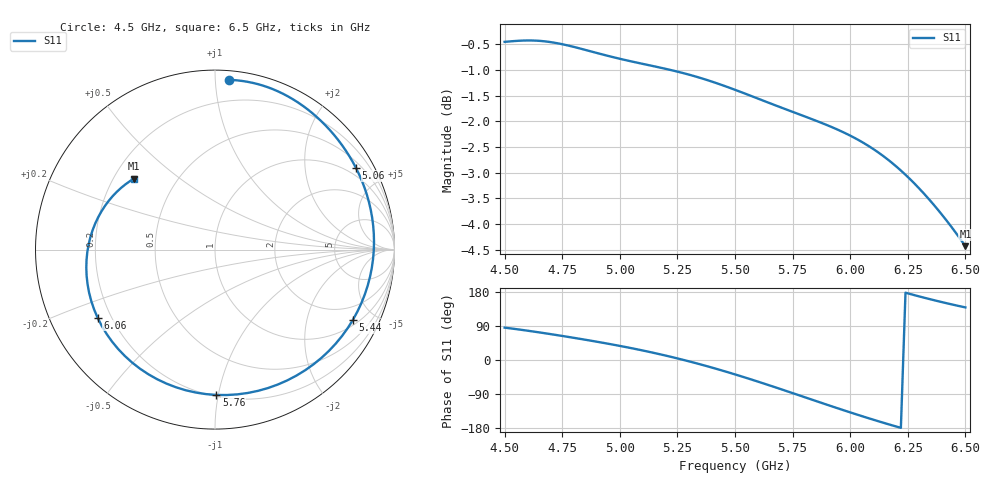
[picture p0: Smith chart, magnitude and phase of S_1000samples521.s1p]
! TOUCHSTONE file generated by CST MICROWAVE STUDIO
! Date and time: Fri Oct 28 11:04:40 2022
! Project name: L.cst
! Parameters = {Di=1.27; Epsilon_r=1.56; InnerDiameter=1.27; Length=2; Lf=10; Lg=60; OuterConductorThickness=0.2921; OuterDiameter=3.6; Wf=3; Wp=41.2; de=1.5; df=6.8; g=0.8; gx=4.97523; gy=1.12814; h=2.34; hf=1.524; px=9.89277; py=10.7956; w=9.7; wx=4.91754; wy=9.66747}
! Header version: 2018
! Port assignment regex: !\s*Touchstone port\s*([0-9]+)\s*=\s*(CST MWS port|CST DS port)\s*([0-9]+|Zmin|Zmax)\s*\(\"(.*)\"\)(\s*mode\s*([0-9]+))?.*
! Touchstone port assignment:
! Touchstone port 1 = CST MWS port 1 ("")
# GHz S DB R 50
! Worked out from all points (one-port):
!   101 points, 4.5 GHz to 6.5 GHz, reference 50 ohm
!   lowest |S11| = -4.4 dB at 6.5 GHz (marker M1), VSWR 4.00, Z = 14.1 + j17.5 ohm
!   |S11| at or under -10 dB: nowhere
!   S11 on the Smith chart (normalised r, x): 4.5 GHz: 0.06, +1.08; 5.06 GHz: 0.70, +3.60; 5.44 GHz: 1.24, -3.78; 5.76 GHz: 0.21, -0.99; 6.06 GHz: 0.15, -0.26; 6.5 GHz: 0.28, +0.35
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4.5  -0.45 85.4
4.64  -0.43 73.8
4.76  -0.51 62.5
4.88  -0.64 50.4
5  -0.78 37.2
5.06  -0.84 30.0
5.16  -0.94 17.1
5.26  -1.04 2.7
5.36  -1.17 -13.2
5.44  -1.29 -27.1
5.5  -1.39 -38.0
5.58  -1.52 -53.2
5.64  -1.63 -65.1
5.7  -1.73 -77.2
5.76  -1.83 -89.4
5.82  -1.93 -101.8
5.88  -2.04 -114.1
5.94  -2.15 -126.3
6  -2.28 -138.2
6.06  -2.43 -149.9
6.1  -2.54 -157.5
6.16  -2.73 -168.5
6.2  -2.88 -175.6
6.26  -3.13 174.2
6.32  -3.41 164.5
6.38  -3.72 155.4
6.44  -4.06 146.8
6.5  -4.43 138.8
